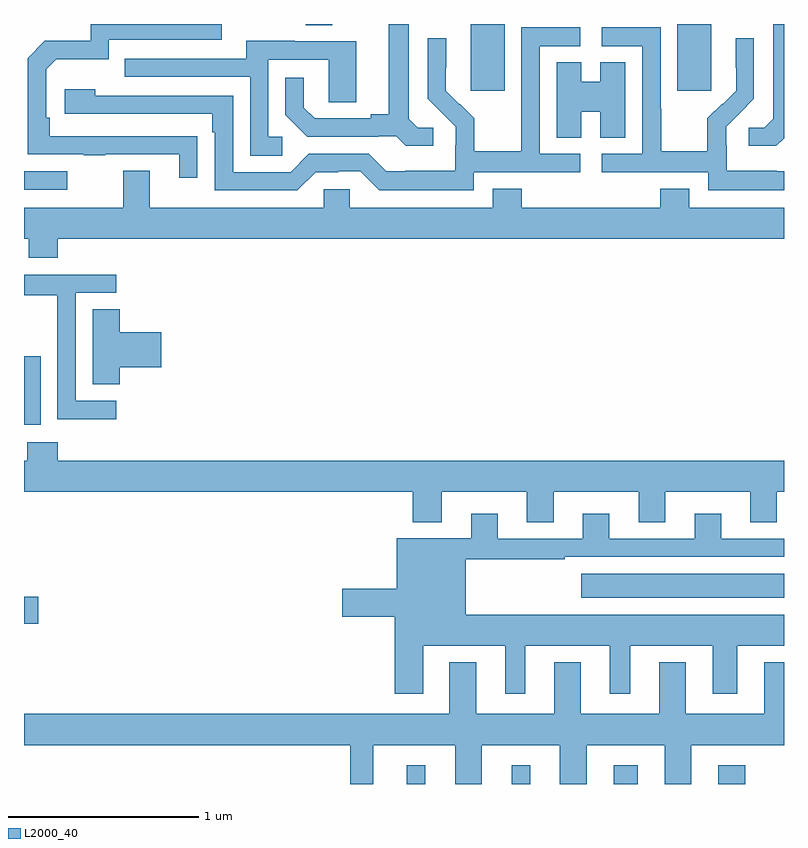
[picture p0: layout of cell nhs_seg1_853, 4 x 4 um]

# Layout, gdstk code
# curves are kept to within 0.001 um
import gdstk
lib = gdstk.Library(unit=1e-6, precision=1e-09)
def R(c, l, rs):  # rectangles x0, y0, x1, y1
    for r in rs: c.add(gdstk.rectangle(r[:2], r[2:], *l))
def P(c, l, *ps):  # polygons
    for p in ps: c.add(gdstk.Polygon(p, *l))
L2000_40 = (2000, 40)

nhs_seg1_853 = lib.new_cell('nhs_seg1_853')
R(nhs_seg1_853, L2000_40, [(159.014,546.199,159.112,546.298), (159.566,546.199,159.664,546.298), (160.103,546.199,160.231,546.298), (160.655,546.199,160.796,546.298), (157,547.042,157.075,547.184), (159.933,547.178,161,547.306), (157,548.09,157.087,548.451), (157,549.327,157.228,549.423), (159.35,549.849,159.529,550.199), (160.439,549.849,160.618,550.199), (158.483,550.192,158.623,550.199)])
P(nhs_seg1_853, L2000_40, [(161,549.599),(161,550.199),(160.943,550.199),(160.943,549.701),(160.896,549.654),(160.815,549.654),(160.815,549.557),(160.958,549.557)],
  [(157.913,549.608),(157.136,549.609),(157.136,549.706),(157.116,549.706),(157.116,549.96),(157.169,550.013),(157.446,550.013),(157.446,550.116),(158.041,550.116),(158.041,550.199),(157.35,550.199),(157.35,550.11),(157.11,550.11),(157.02,550.02),(157.02,549.513),(157.315,549.513),(157.315,549.508),(157.427,549.508),(157.427,549.513),(157.817,549.513),(157.817,549.39),(157.913,549.39)],
  [(159.154,549.654),(159.072,549.654),(159.025,549.701),(159.025,550.199),(158.921,550.199),(158.921,549.725),(158.825,549.725),(158.825,549.702),(158.53,549.702),(158.473,549.759),(158.473,549.916),(158.376,549.916),(158.376,549.722),(158.492,549.606),(158.864,549.606),(158.864,549.609),(158.958,549.609),(159.01,549.557),(159.154,549.557)],
  [(161,549.423),(160.961,549.423),(160.961,549.427),(160.698,549.427),(160.698,549.561),(160.696,549.561),(160.696,549.658),(160.842,549.806),(160.842,550.124),(160.746,550.124),(160.746,549.97),(160.748,549.97),(160.748,549.848),(160.677,549.777),(160.674,549.78),(160.597,549.703),(160.597,549.529),(160.353,549.529),(160.353,549.752),(160.35,549.752),(160.35,550.182),(160.041,550.182),(160.041,550.083),(160.254,550.083),(160.254,549.516),(160.041,549.516),(160.041,549.42),(160.602,549.42),(160.602,549.323),(161,549.323)],
  [(159.366,549.42),(159.928,549.42),(159.928,549.516),(159.714,549.516),(159.714,550.083),(159.928,550.083),(159.928,550.182),(159.618,550.182),(159.618,549.752),(159.616,549.752),(159.616,549.529),(159.371,549.529),(159.371,549.703),(159.294,549.78),(159.291,549.777),(159.221,549.848),(159.222,550.124),(159.126,550.124),(159.126,549.806),(159.272,549.658),(159.272,549.561),(159.27,549.561),(159.27,549.427),(159.007,549.427),(159.007,549.423),(158.907,549.423),(158.814,549.516),(158.499,549.516),(158.403,549.42),(158.1,549.42),(158.1,549.822),(157.376,549.822),(157.376,549.856),(157.215,549.856),(157.215,549.726),(157.991,549.726),(157.991,549.629),(158.004,549.629),(158.004,549.324),(158.439,549.324),(158.535,549.42),(158.654,549.42),(158.654,549.423),(158.769,549.423),(158.869,549.323),(159.366,549.323)],
  [(158.359,549.606),(158.286,549.606),(158.286,550.011),(158.604,550.011),(158.604,549.787),(158.749,549.787),(158.749,550.107),(158.425,550.107),(158.425,550.111),(158.171,550.111),(158.171,550.017),(157.531,550.017),(157.531,549.921),(158.19,549.921),(158.19,549.505),(158.359,549.505)],
  [(159.934,549.737),(160.034,549.737),(160.034,549.601),(160.165,549.601),(160.165,549.998),(160.034,549.998),(160.034,549.895),(159.934,549.895),(159.934,549.998),(159.803,549.998),(159.803,549.601),(159.934,549.601)],
  [(157.178,549.068),(161,549.068),(161,549.232),(160.501,549.232),(160.501,549.331),(160.349,549.331),(160.349,549.232),(159.62,549.232),(159.62,549.331),(159.467,549.331),(159.467,549.232),(158.715,549.232),(158.715,549.33),(158.577,549.33),(158.577,549.232),(157.663,549.232),(157.663,549.427),(157.523,549.427),(157.523,549.232),(157,549.232),(157,549.068),(157.025,549.068),(157.025,548.969),(157.178,548.969)],
  [(157.486,548.217),(157.272,548.217),(157.272,548.784),(157.486,548.784),(157.486,548.88),(157,548.88),(157,548.772),(157.174,548.772),(157.174,548.548),(157.176,548.548),(157.176,548.119),(157.486,548.119)],
  [(157.505,548.393),(157.723,548.393),(157.723,548.576),(157.505,548.576),(157.505,548.699),(157.361,548.699),(157.361,548.302),(157.505,548.302)],
  [(159.787,547.736),(160.235,547.736),(160.235,547.576),(160.375,547.576),(160.375,547.736),(160.823,547.736),(160.823,547.576),(160.963,547.576),(160.963,547.736),(161,547.736),(161,547.9),(157.178,547.9),(157.178,547.999),(157.018,547.999),(157.018,547.9),(157,547.9),(157,547.736),(159.047,547.736),(159.047,547.577),(159.199,547.577),(159.199,547.736),(159.647,547.736),(159.647,547.576),(159.787,547.576)],
  [(159.1,546.926),(159.533,546.926),(159.533,546.675),(159.637,546.675),(159.637,546.926),(160.082,546.926),(160.082,546.675),(160.192,546.675),(160.192,546.926),(160.625,546.926),(160.625,546.675),(160.753,546.675),(160.753,546.926),(161,546.926),(161,547.09),(159.325,547.09),(159.325,547.383),(159.845,547.383),(159.845,547.395),(161,547.395),(161,547.491),(160.669,547.491),(160.669,547.621),(160.529,547.621),(160.529,547.491),(160.081,547.491),(160.081,547.621),(159.941,547.621),(159.941,547.491),(159.493,547.491),(159.493,547.621),(159.353,547.621),(159.353,547.492),(158.963,547.492),(158.963,547.226),(158.676,547.226),(158.676,547.079),(158.951,547.079),(158.951,546.675),(159.1,546.675)],
  [(158.839,546.404),(159.269,546.404),(159.269,546.199),(159.409,546.199),(159.409,546.404),(159.821,546.404),(159.821,546.199),(159.961,546.199),(159.961,546.404),(160.373,546.404),(160.373,546.199),(160.513,546.199),(160.513,546.404),(161,546.404),(161,546.841),(160.895,546.841),(160.895,546.568),(160.483,546.568),(160.483,546.841),(160.343,546.841),(160.343,546.568),(159.931,546.568),(159.931,546.841),(159.791,546.841),(159.791,546.568),(159.379,546.568),(159.379,546.841),(159.239,546.841),(159.239,546.568),(157,546.568),(157,546.404),(158.718,546.404),(158.718,546.199),(158.839,546.199)])

lib.write_gds('nhs_seg1_853.gds')
